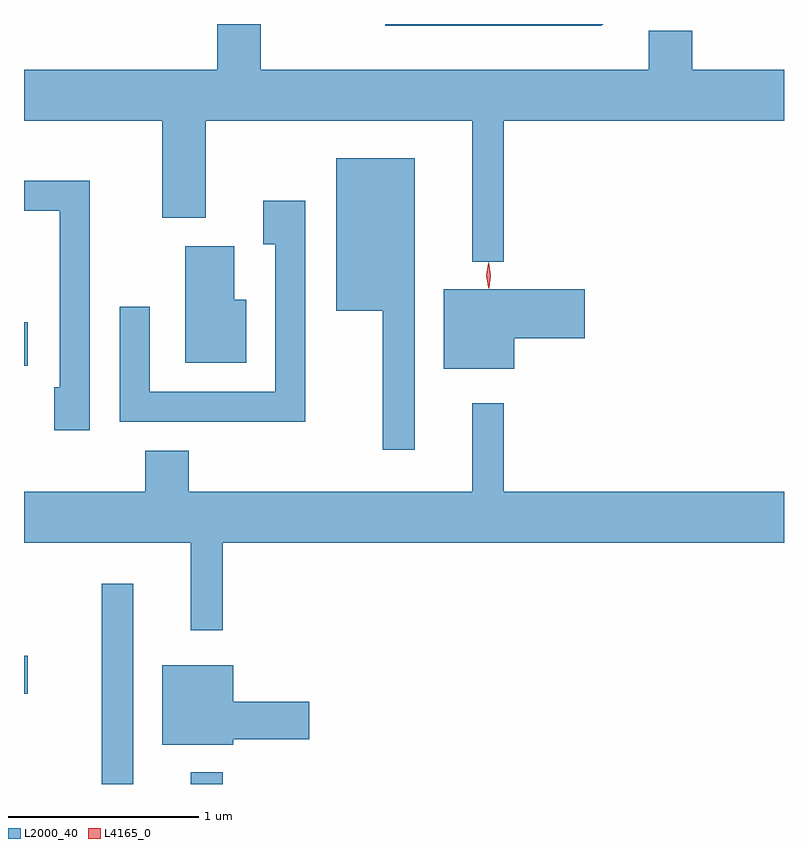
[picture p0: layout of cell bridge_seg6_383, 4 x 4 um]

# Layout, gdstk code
import gdstk
lib = gdstk.Library(unit=1e-6, precision=1e-09)
def R(c, l, rs):  # rectangles x0, y0, x1, y1
    for r in rs: c.add(gdstk.rectangle(r[:2], r[2:], *l))
def P(c, l, *ps):  # polygons
    for p in ps: c.add(gdstk.Polygon(p, *l))
L2000_40 = (2000, 40)
L4165_0 = (4165, 0)

bridge_seg6_383 = lib.new_cell('bridge_seg6_383')
R(bridge_seg6_383, L2000_40, [(920.761,1639.785,920.929,1640.838), (921.231,1639.785,921.399,1639.848), (920.353,1640.261,920.374,1640.459), (920.353,1641.986,920.374,1642.214)])
P(bridge_seg6_383, L2000_40, [(922.879,1643.276),(924.353,1643.276),(924.353,1643.544),(923.869,1643.544),(923.869,1643.749),(923.641,1643.749),(923.641,1643.544),(921.599,1643.544),(921.599,1643.785),(921.371,1643.785),(921.371,1643.544),(920.353,1643.544),(920.353,1643.276),(921.081,1643.276),(921.081,1642.766),(921.309,1642.766),(921.309,1643.276),(922.711,1643.276),(922.711,1642.533),(922.879,1642.533)],
  [(923.401,1643.785),(922.253,1643.785),(922.253,1643.776),(923.392,1643.776)],
  [(922.409,1643.079),(921.996,1643.079),(921.996,1642.276),(922.241,1642.276),(922.241,1641.543),(922.409,1641.543)],
  [(920.699,1642.959),(920.353,1642.959),(920.353,1642.801),(920.541,1642.801),(920.541,1641.874),(920.511,1641.874),(920.511,1641.646),(920.699,1641.646)],
  [(921.834,1642.854),(921.611,1642.854),(921.611,1642.626),(921.676,1642.626),(921.676,1641.849),(921.014,1641.849),(921.014,1642.298),(920.856,1642.298),(920.856,1641.691),(921.834,1641.691)],
  [(921.524,1642.334),(921.459,1642.334),(921.459,1642.614),(921.201,1642.614),(921.201,1642.001),(921.524,1642.001)],
  [(922.934,1642.131),(923.304,1642.131),(923.304,1642.389),(922.561,1642.389),(922.561,1641.971),(922.934,1641.971)],
  [(921.219,1641.539),(920.991,1641.539),(920.991,1641.324),(920.353,1641.324),(920.353,1641.056),(921.231,1641.056),(921.231,1640.593),(921.399,1640.593),(921.399,1641.056),(924.353,1641.056),(924.353,1641.324),(922.879,1641.324),(922.879,1641.788),(922.711,1641.788),(922.711,1641.324),(921.219,1641.324)],
  [(921.454,1640.021),(921.854,1640.021),(921.854,1640.219),(921.454,1640.219),(921.454,1640.409),(921.081,1640.409),(921.081,1639.991),(921.454,1639.991)])
P(bridge_seg6_383, L4165_0, [(922.8,1642.394),(922.8,1642.394),(922.79,1642.462),(922.799,1642.53),(922.8,1642.53),(922.8,1642.53),(922.81,1642.462),(922.801,1642.394)],
  [(922.797,1642.4),(922.797,1642.4),(922.787,1642.463),(922.797,1642.526),(922.797,1642.527),(922.798,1642.526),(922.807,1642.463),(922.798,1642.4)])

lib.write_gds('bridge_seg6_383.gds')
